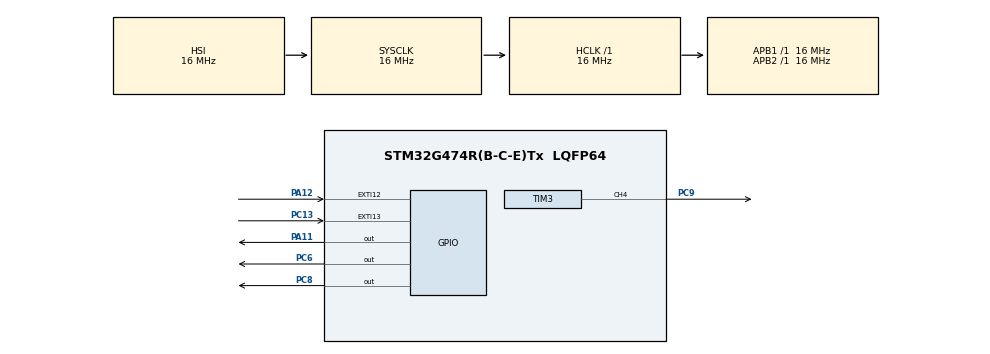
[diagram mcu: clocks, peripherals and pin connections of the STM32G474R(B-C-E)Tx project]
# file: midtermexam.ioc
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Mcu.Family=STM32G4
Mcu.Name=STM32G474R(B-C-E)Tx
Mcu.Package=LQFP64
NVIC.EXTI15_10_IRQn=true\:0\:0\:false\:false\:true\:true\:true\:true
NVIC.PriorityGroup=NVIC_PRIORITYGROUP_4
PA11.Signal=GPIO_Output
PA12.GPIO_PuPd=GPIO_PULLUP
PA12.Signal=GPXTI12
PC13.GPIO_PuPd=GPIO_PULLDOWN
PC13.Signal=GPXTI13
PC6.Signal=GPIO_Output
PC8.Signal=GPIO_Output
PC9.Signal=S_TIM3_CH4
PF0-OSC_IN.Mode=HSE-External-Oscillator
PF0-OSC_IN.Signal=RCC_OSC_IN
PF1-OSC_OUT.Mode=HSE-External-Oscillator
PF1-OSC_OUT.Signal=RCC_OSC_OUT
ProjectManager.HeapSize=0x200
ProjectManager.StackSize=0x400
ProjectManager.TargetToolchain=STM32CubeIDE
RCC.AHBFreq_Value=16000000
RCC.APB1Freq_Value=16000000
RCC.APB1TimFreq_Value=16000000
RCC.APB2Freq_Value=16000000
RCC.APB2TimFreq_Value=16000000
RCC.CortexFreq_Value=16000000
RCC.EXTERNAL_CLOCK_VALUE=12288000
RCC.HCLKFreq_Value=16000000
RCC.HSE_VALUE=8000000
RCC.HSI48_VALUE=48000000
RCC.HSI_VALUE=16000000
RCC.LSE_VALUE=32768
RCC.SYSCLKFreq_VALUE=16000000
RCC.USBFreq_Value=64000000
RCC.VCOOutputFreq_Value=128000000
SH.S_TIM3_CH4.0=TIM3_CH4,PWM Generation4 CH4
TIM3.Channel-PWM\ Generation4\ CH4=TIM_CHANNEL_4
TIM3.PeriodNoDither=999
TIM3.Prescaler=79
VP_SYS_VS_DBSignals.Mode=DisableDeadBatterySignals
VP_TIM3_VS_ClockSourceINT.Mode=Internal
board=custom

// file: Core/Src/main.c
/* USER CODE BEGIN Header */
/**
  ******************************************************************************
  * @file           : main.c
  * @brief          : Main program body
  ******************************************************************************
  * @attention
  *
  * Copyright (c) 2026 STMicroelectronics.
  * All rights reserved.
  *
  * This software is licensed under terms that can be found in the LICENSE file
  * in the root directory of this software component.
  * If no LICENSE file comes with this software, it is provided AS-IS.
  *
  ******************************************************************************
  */
/* USER CODE END Header */
#include "main.h"

TIM_HandleTypeDef htim3;

/* USER CODE BEGIN PV */
// 定義系統運行狀態
typedef enum {
    CURTAIN_IDLE = 0,       // 停止/待機
    CURTAIN_OPENING,        // 開啟中 (漸亮)
    CURTAIN_CLOSING,        // 關閉中 (漸暗)
    CURTAIN_PAUSED          // 誤觸暫停
} CurtainState_t;

volatile CurtainState_t current_state = CURTAIN_IDLE;
volatile CurtainState_t last_state = CURTAIN_IDLE; // 記錄暫停前的方向

// 亮度與計時變數
uint32_t pwm_val = 0;              // 黃燈 PWM 比較值 (0 ~ 1000)
uint32_t step_counter = 0;         // 15秒漸變計數器
uint32_t hint_counter = 0;         // 提示音/綠燈閃爍計數器 (0.5秒亮/滅)
uint8_t hint_toggle = 0;           // 提示切換旗標
uint8_t buzzer_double_beep = 0;    // 誤觸時的兩聲逼逼計數

// 去彈跳變數 (單位: ms)
uint32_t last_btn1_tick = 0;
uint32_t last_btn2_tick = 0;
const uint32_t DEBOUNCE_DELAY = 200;
/* USER CODE END PV */

void SystemClock_Config(void);
static void MX_GPIO_Init(void);
static void MX_TIM3_Init(void);

int main(void)
{

  /* MCU Configuration--------------------------------------------------------*/

  /* Reset of all peripherals, Initializes the Flash interface and the Systick. */
  HAL_Init();

  /* Configure the system clock */
  SystemClock_Config();

  /* Initialize all configured peripherals */
  MX_GPIO_Init();
  MX_TIM3_Init();
  /* USER CODE BEGIN 2 */
  // 啟動 TIM3 Channel 4 PWM 輸出 (對應 PC9 黃燈)
  HAL_TIM_PWM_Start(&htim3, TIM_CHANNEL_4);
  __HAL_TIM_SET_COMPARE(&htim3, TIM_CHANNEL_4, 0); // 初始亮度為 0
  /* USER CODE END 2 */

  /* Infinite loop */
  /* USER CODE BEGIN WHILE */
  while (1)
  {
      // 每個迴圈固定延遲 15 毫秒 (15秒總共 1000 個迴圈，剛好對應 1000 步 PWM)
      HAL_Delay(15);

      // ---------------------------------------------------------
      // 1. 窗簾開啟中 (漸亮 15 秒)
      // ---------------------------------------------------------
      if (current_state == CURTAIN_OPENING)
      {
          if (pwm_val < 1000)
          {
              pwm_val++; // 每 15ms 增加 1，1000步剛好 15 秒
              __HAL_TIM_SET_COMPARE(&htim3, TIM_CHANNEL_4, pwm_val);
          }
          else
          {
              // 已經達到最亮 (1000)，停止並回到待機狀態
              current_state = CURTAIN_IDLE;
              HAL_GPIO_WritePin(GPIOC, GPIO_PIN_8, GPIO_PIN_RESET);  // 綠燈熄滅
              HAL_GPIO_WritePin(GPIOA, GPIO_PIN_11, GPIO_PIN_RESET); // 蜂鳴器熄滅
              continue;
          }

          // 綠燈與蜂鳴器提示：亮 0.5秒，停 0.5秒 (總週期 1秒 = 1000ms / 15ms ≒ 66個迴圈)
          hint_counter++;
          if (hint_counter >= 33) // 約 0.5 秒
          {
              hint_counter = 0;
              hint_toggle = !hint_toggle;
              if (hint_toggle) {
                  HAL_GPIO_WritePin(GPIOC, GPIO_PIN_8, GPIO_PIN_SET);   // 綠燈亮
                  HAL_GPIO_WritePin(GPIOA, GPIO_PIN_11, GPIO_PIN_SET);  // 蜂鳴器響
              } else {
                  HAL_GPIO_WritePin(GPIOC, GPIO_PIN_8, GPIO_PIN_RESET); // 綠燈滅
                  HAL_GPIO_WritePin(GPIOA, GPIO_PIN_11, GPIO_PIN_RESET); // 蜂鳴器停
              }
          }
      }
      // ---------------------------------------------------------
      // 2. 窗簾關閉中 (漸暗 15 秒)
      // ---------------------------------------------------------
      else if (current_state == CURTAIN_CLOSING)
      {
          if (pwm_val > 0)
          {
              pwm_val--; // 每 15ms 減少 1，1000步剛好 15 秒
              __HAL_TIM_SET_COMPARE(&htim3, TIM_CHANNEL_4, pwm_val);
          }
          else
          {
              // 已經達到最暗 (0)，停止並回到待機狀態
              current_state = CURTAIN_IDLE;
              HAL_GPIO_WritePin(GPIOC, GPIO_PIN_8, GPIO_PIN_RESET);  // 綠燈熄滅
              HAL_GPIO_WritePin(GPIOA, GPIO_PIN_11, GPIO_PIN_RESET); // 蜂鳴器熄滅
              continue;
          }

          // 綠燈與蜂鳴器提示：亮 0.5秒，停 0.5秒
          hint_counter++;
          if (hint_counter >= 33)
          {
              hint_counter = 0;
              hint_toggle = !hint_toggle;
              if (hint_toggle) {
                  HAL_GPIO_WritePin(GPIOC, GPIO_PIN_8, GPIO_PIN_SET);   // 綠燈亮
                  HAL_GPIO_WritePin(GPIOA, GPIO_PIN_11, GPIO_PIN_SET);  // 蜂鳴器響
              } else {
                  HAL_GPIO_WritePin(GPIOC, GPIO_PIN_8, GPIO_PIN_RESET); // 綠燈滅
                  HAL_GPIO_WritePin(GPIOA, GPIO_PIN_11, GPIO_PIN_RESET); // 蜂鳴器停
              }
          }
      }
      // ---------------------------------------------------------
      // 3. 誤觸暫停狀態
      // ---------------------------------------------------------
      else if (current_state == CURTAIN_PAUSED)
      {
          // 黃燈停在當前亮度 (維持 pwm_val 不變)
          // 紅燈長亮
          HAL_GPIO_WritePin(GPIOC, GPIO_PIN_6, GPIO_PIN_SET);
          // 綠燈熄滅
          HAL_GPIO_WritePin(GPIOC, GPIO_PIN_8, GPIO_PIN_RESET);

          // 處理誤觸時的兩聲較快逼逼提示
          if (buzzer_double_beep > 0)
          {
              static uint32_t beep_timer = 0;
              beep_timer++;
              if (beep_timer < 10) {
                  HAL_GPIO_WritePin(GPIOA, GPIO_PIN_11, GPIO_PIN_SET);
              } else if (beep_timer < 20) {
                  HAL_GPIO_WritePin(GPIOA, GPIO_PIN_11, GPIO_PIN_RESET);
              } else if (beep_timer < 30) {
                  HAL_GPIO_WritePin(GPIOA, GPIO_PIN_11, GPIO_PIN_SET);
              } else {
                  HAL_GPIO_WritePin(GPIOA, GPIO_PIN_11, GPIO_PIN_RESET);
                  buzzer_double_beep = 0; // 兩聲結束
                  beep_timer = 0;
              }
          }
      }
      // ---------------------------------------------------------
      // 4. 待機/停止狀態
      // ---------------------------------------------------------
      else
      {
          // 確保所有提示燈號與蜂鳴器關閉
          HAL_GPIO_WritePin(GPIOC, GPIO_PIN_6, GPIO_PIN_RESET);  // 紅燈滅
          HAL_GPIO_WritePin(GPIOC, GPIO_PIN_8, GPIO_PIN_RESET);  // 綠燈滅
          HAL_GPIO_WritePin(GPIOA, GPIO_PIN_11, GPIO_PIN_RESET); // 蜂鳴器滅
          hint_counter = 0;
      }
  }
    /* USER CODE END WHILE */

}

void SystemClock_Config(void)
{
  RCC_OscInitTypeDef RCC_OscInitStruct = {0};
  RCC_ClkInitTypeDef RCC_ClkInitStruct = {0};

  /** Configure the main internal regulator output voltage
  */
  HAL_PWREx_ControlVoltageScaling(PWR_REGULATOR_VOLTAGE_SCALE1);

  /** Initializes the RCC Oscillators according to the specified parameters
  * in the RCC_OscInitTypeDef structure.
  */
  RCC_OscInitStruct.OscillatorType = RCC_OSCILLATORTYPE_HSI;
  RCC_OscInitStruct.HSIState = RCC_HSI_ON;
  RCC_OscInitStruct.HSICalibrationValue = RCC_HSICALIBRATION_DEFAULT;
  RCC_OscInitStruct.PLL.PLLState = RCC_PLL_NONE;
  if (HAL_RCC_OscConfig(&RCC_OscInitStruct) != HAL_OK)
  {
    Error_Handler();
  }

  /** Initializes the CPU, AHB and APB buses clocks
  */
  RCC_ClkInitStruct.ClockType = RCC_CLOCKTYPE_HCLK|RCC_CLOCKTYPE_SYSCLK
                              |RCC_CLOCKTYPE_PCLK1|RCC_CLOCKTYPE_PCLK2;
  RCC_ClkInitStruct.SYSCLKSource = RCC_SYSCLKSOURCE_HSI;
  RCC_ClkInitStruct.AHBCLKDivider = RCC_SYSCLK_DIV1;
  RCC_ClkInitStruct.APB1CLKDivider = RCC_HCLK_DIV1;
  RCC_ClkInitStruct.APB2CLKDivider = RCC_HCLK_DIV1;

  if (HAL_RCC_ClockConfig(&RCC_ClkInitStruct, FLASH_LATENCY_0) != HAL_OK)
  {
    Error_Handler();
  }
}

static void MX_TIM3_Init(void)
{

  TIM_ClockConfigTypeDef sClockSourceConfig = {0};
  TIM_MasterConfigTypeDef sMasterConfig = {0};
  TIM_OC_InitTypeDef sConfigOC = {0};

  htim3.Instance = TIM3;
  htim3.Init.Prescaler = 79;
  htim3.Init.CounterMode = TIM_COUNTERMODE_UP;
  htim3.Init.Period = 999;
  htim3.Init.ClockDivision = TIM_CLOCKDIVISION_DIV1;
  htim3.Init.AutoReloadPreload = TIM_AUTORELOAD_PRELOAD_DISABLE;
  if (HAL_TIM_Base_Init(&htim3) != HAL_OK)
  {
    Error_Handler();
  }
  sClockSourceConfig.ClockSource = TIM_CLOCKSOURCE_INTERNAL;
  if (HAL_TIM_ConfigClockSource(&htim3, &sClockSourceConfig) != HAL_OK)
  {
    Error_Handler();
  }
  if (HAL_TIM_PWM_Init(&htim3) != HAL_OK)
  {
    Error_Handler();
  }
  sMasterConfig.MasterOutputTrigger = TIM_TRGO_RESET;
  sMasterConfig.MasterSlaveMode = TIM_MASTERSLAVEMODE_DISABLE;
  if (HAL_TIMEx_MasterConfigSynchronization(&htim3, &sMasterConfig) != HAL_OK)
  {
    Error_Handler();
  }
  sConfigOC.OCMode = TIM_OCMODE_PWM1;
  sConfigOC.Pulse = 0;
  sConfigOC.OCPolarity = TIM_OCPOLARITY_HIGH;
  sConfigOC.OCFastMode = TIM_OCFAST_DISABLE;
  if (HAL_TIM_PWM_ConfigChannel(&htim3, &sConfigOC, TIM_CHANNEL_4) != HAL_OK)
  {
    Error_Handler();
  }
  HAL_TIM_MspPostInit(&htim3);

}

static void MX_GPIO_Init(void)
{
  GPIO_InitTypeDef GPIO_InitStruct = {0};

  /* GPIO Ports Clock Enable */
  __HAL_RCC_GPIOC_CLK_ENABLE();
  __HAL_RCC_GPIOF_CLK_ENABLE();
  __HAL_RCC_GPIOA_CLK_ENABLE();

  /*Configure GPIO pin Output Level */
  HAL_GPIO_WritePin(GPIOC, GPIO_PIN_6|GPIO_PIN_8, GPIO_PIN_RESET);

  /*Configure GPIO pin Output Level */
  HAL_GPIO_WritePin(GPIOA, GPIO_PIN_11, GPIO_PIN_RESET);

  /*Configure GPIO pin : PC13 */
  GPIO_InitStruct.Pin = GPIO_PIN_13;
  GPIO_InitStruct.Mode = GPIO_MODE_IT_RISING;
  GPIO_InitStruct.Pull = GPIO_PULLDOWN;
  HAL_GPIO_Init(GPIOC, &GPIO_InitStruct);

  /*Configure GPIO pins : PC6 PC8 */
  GPIO_InitStruct.Pin = GPIO_PIN_6|GPIO_PIN_8;
  GPIO_InitStruct.Mode = GPIO_MODE_OUTPUT_PP;
  GPIO_InitStruct.Pull = GPIO_NOPULL;
  GPIO_InitStruct.Speed = GPIO_SPEED_FREQ_LOW;
  HAL_GPIO_Init(GPIOC, &GPIO_InitStruct);

  /*Configure GPIO pin : PA11 */
  GPIO_InitStruct.Pin = GPIO_PIN_11;
  GPIO_InitStruct.Mode = GPIO_MODE_OUTPUT_PP;
  GPIO_InitStruct.Pull = GPIO_NOPULL;
  GPIO_InitStruct.Speed = GPIO_SPEED_FREQ_LOW;
  HAL_GPIO_Init(GPIOA, &GPIO_InitStruct);

  /*Configure GPIO pin : PA12 */
  GPIO_InitStruct.Pin = GPIO_PIN_12;
  GPIO_InitStruct.Mode = GPIO_MODE_IT_RISING;
  GPIO_InitStruct.Pull = GPIO_PULLUP;
  HAL_GPIO_Init(GPIOA, &GPIO_InitStruct);

  /* EXTI interrupt init*/
  HAL_NVIC_SetPriority(EXTI15_10_IRQn, 0, 0);
  HAL_NVIC_EnableIRQ(EXTI15_10_IRQn);

}

/* USER CODE BEGIN 4 */
/**
 * @brief 外部中斷回呼函數，處理按鈕 1 與按鈕 2 的觸發事件
 */
void HAL_GPIO_EXTI_Callback(uint16_t GPIO_Pin)
{
    uint32_t current_tick = HAL_GetTick();

    // ---------------------------------------------------------
    // 按鈕 1 處理 (PC13 - 窗簾開/關切換、繼續動作)
    // ---------------------------------------------------------
    if (GPIO_Pin == GPIO_PIN_13)
    {
        // 軟體去彈跳機制
        if ((current_tick - last_btn1_tick) > DEBOUNCE_DELAY)
        {
            last_btn1_tick = current_tick;

            // 如果目前是暫停狀態，按下按鈕1則恢復原本的方向
            if (current_state == CURTAIN_PAUSED)
            {
                HAL_GPIO_WritePin(GPIOC, GPIO_PIN_6, GPIO_PIN_RESET); // 關閉紅燈
                current_state = last_state; // 恢復為暫停前的狀態 (OPENING 或 CLOSING)
            }
            // 如果目前正在運行中，按下按鈕1則視為無效或切換 (依照需求：最亮時再按變成關閉)
            else if (current_state == CURTAIN_IDLE)
            {
                // 關閉紅燈確保狀態乾淨
                HAL_GPIO_WritePin(GPIOC, GPIO_PIN_6, GPIO_PIN_RESET);

                if (pwm_val == 0 || pwm_val < 1000)
                {
                    // 點選按鈕1：若未滿，開始開啟 (漸亮)
                    current_state = CURTAIN_OPENING;
                    last_state = CURTAIN_OPENING;
                }
                else if (pwm_val == 1000)
                {
                    // 已經在最亮時再按：變成關閉窗簾 (漸暗)
                    current_state = CURTAIN_CLOSING;
                    last_state = CURTAIN_CLOSING;
                }
            }
            // 執行中的過程中若再按按鈕1（例如開到一半想直接關閉，可視需求調整，此處依題目保留標準邏輯）
            else if (current_state == CURTAIN_OPENING)
            {
                current_state = CURTAIN_CLOSING;
                last_state = CURTAIN_CLOSING;
            }
            else if (current_state == CURTAIN_CLOSING)
            {
                current_state = CURTAIN_OPENING;
                last_state = CURTAIN_OPENING;
            }
        }
    }

    // ---------------------------------------------------------
    // 按鈕 2 處理 (PA12 - 模擬手部誤觸，暫停窗簾)
    // ---------------------------------------------------------
    else if (GPIO_Pin == GPIO_PIN_12)
    {
        // 軟體去彈跳機制
        if ((current_tick - last_btn2_tick) > DEBOUNCE_DELAY)
        {
            last_btn2_tick = current_tick;

            // 只有在窗簾正在動作時（開啟中或關閉中），按下誤觸按鈕才有效
            if (current_state == CURTAIN_OPENING || current_state == CURTAIN_CLOSING)
            {
                last_state = current_state;       // 記錄當前運作方向
                current_state = CURTAIN_PAUSED;   // 進入暫停狀態

                // 觸發兩聲較快逼逼的旗標
                buzzer_double_beep = 1;
            }
        }
    }
}
/* USER CODE END 4 */

void Error_Handler(void)
{
  __disable_irq();
  while (1)
  {
  }
}
